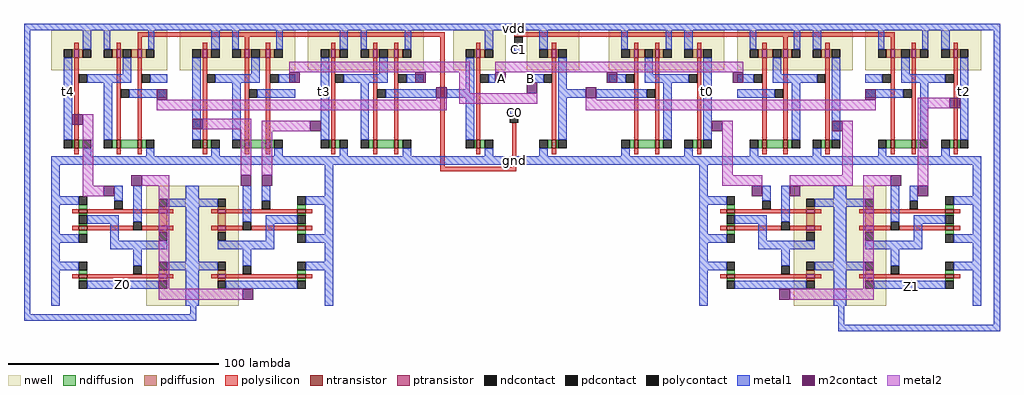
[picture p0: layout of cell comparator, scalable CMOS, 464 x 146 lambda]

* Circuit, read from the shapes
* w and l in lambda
.subckt comparator A B C0 C1 Z0 Z1 gnd vdd
M1 gnd n1 NOR_2/A VSUBS nfet w=4 l=2
M2 gnd NOR_2/out Z0 VSUBS nfet w=4 l=2
M3 NOR_2/out NOR_2/B gnd VSUBS nfet w=4 l=2
M4 gnd NOR_2/A NOR_2/out VSUBS nfet w=4 l=2
M5 n2 AND_3/B n1 VSUBS nfet w=4 l=2
M6 gnd C0 n2 VSUBS nfet w=4 l=2
M7 gnd n3 NOR_3/B VSUBS nfet w=4 l=2
M8 n4 C0 n3 VSUBS nfet w=4 l=2
M9 gnd B n4 VSUBS nfet w=4 l=2
M10 gnd NOR_3/out NOR_2/B VSUBS nfet w=4 l=2
M11 NOR_3/out NOR_3/B gnd VSUBS nfet w=4 l=2
M12 gnd NOR_3/A NOR_3/out VSUBS nfet w=4 l=2
M13 gnd n5 NOR_3/A VSUBS nfet w=4 l=2
M14 n6 AND_3/B n5 VSUBS nfet w=4 l=2
M15 gnd B n6 VSUBS nfet w=4 l=2
M16 gnd A AND_3/B VSUBS nfet w=4 l=2
M17 AND_0/B B gnd VSUBS nfet w=4 l=2
M18 n7 A gnd VSUBS nfet w=4 l=2
M19 n8 AND_0/B n7 VSUBS nfet w=4 l=2
M20 NOR_0/A n8 gnd VSUBS nfet w=4 l=2
M21 gnd NOR_0/out NOR_1/B VSUBS nfet w=4 l=2
M22 NOR_0/out NOR_0/B gnd VSUBS nfet w=4 l=2
M23 gnd NOR_0/A NOR_0/out VSUBS nfet w=4 l=2
M24 n9 A gnd VSUBS nfet w=4 l=2
M25 n10 C1 n9 VSUBS nfet w=4 l=2
M26 NOR_0/B n10 gnd VSUBS nfet w=4 l=2
M27 n11 C1 gnd VSUBS nfet w=4 l=2
M28 n12 AND_0/B n11 VSUBS nfet w=4 l=2
M29 gnd NOR_1/out Z1 VSUBS nfet w=4 l=2
M30 NOR_1/out NOR_1/B gnd VSUBS nfet w=4 l=2
M31 gnd NOR_1/A NOR_1/out VSUBS nfet w=4 l=2
M32 NOR_1/A n12 gnd VSUBS nfet w=4 l=2
M33 vdd n1 NOR_2/A n13 pfet w=4 l=2
M34 n1 AND_3/B vdd n13 pfet w=4 l=2
M35 vdd C0 n1 n13 pfet w=4 l=2
M36 vdd NOR_2/out Z0 n14 pfet w=4 l=2
M37 n15 NOR_2/B NOR_2/out n14 pfet w=4 l=2
M38 vdd NOR_2/A n15 n14 pfet w=4 l=2
M39 vdd n3 NOR_3/B n16 pfet w=4 l=2
M40 vdd NOR_3/out NOR_2/B n17 pfet w=4 l=2
M41 n18 NOR_3/B NOR_3/out n17 pfet w=4 l=2
M42 vdd NOR_3/A n18 n17 pfet w=4 l=2
M43 n3 C0 vdd n16 pfet w=4 l=2
M44 vdd B n3 n16 pfet w=4 l=2
M45 vdd n5 NOR_3/A n19 pfet w=4 l=2
M46 n5 AND_3/B vdd n19 pfet w=4 l=2
M47 vdd B n5 n19 pfet w=4 l=2
M48 vdd A AND_3/B n20 pfet w=4 l=2
M49 AND_0/B B vdd n21 pfet w=4 l=2
M50 n8 A vdd n22 pfet w=4 l=2
M51 vdd AND_0/B n8 n22 pfet w=4 l=2
M52 NOR_0/A n8 vdd n22 pfet w=4 l=2
M53 n10 A vdd n23 pfet w=4 l=2
M54 vdd C1 n10 n23 pfet w=4 l=2
M55 vdd NOR_0/out NOR_1/B n24 pfet w=4 l=2
M56 n25 NOR_0/B NOR_0/out n24 pfet w=4 l=2
M57 vdd NOR_0/A n25 n24 pfet w=4 l=2
M58 NOR_0/B n10 vdd n23 pfet w=4 l=2
M59 vdd NOR_1/out Z1 n26 pfet w=4 l=2
M60 n27 NOR_1/B NOR_1/out n26 pfet w=4 l=2
M61 vdd NOR_1/A n27 n26 pfet w=4 l=2
M62 n12 C1 vdd n28 pfet w=4 l=2
M63 vdd AND_0/B n12 n28 pfet w=4 l=2
M64 NOR_1/A n12 vdd n28 pfet w=4 l=2
.ends

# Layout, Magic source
magic
tech scmos
<< nwell >>
rect -74 45 -49 64
rect -39 45 -14 64
rect -220 -67 -201 -42
rect -195 -67 -176 -42
rect 88 -67 107 -42
rect 113 -67 132 -42
<< ntransistor >>
rect -63 8 -61 12
rect -27 8 -25 12
rect -252 -54 -248 -52
rect -148 -54 -144 -52
rect 56 -54 60 -52
rect 160 -54 164 -52
<< ptransistor >>
rect -63 51 -61 55
rect -27 51 -25 55
rect -214 -54 -210 -52
rect -186 -54 -182 -52
rect 94 -54 98 -52
rect 122 -54 126 -52
<< ndiffusion >>
rect -64 8 -63 12
rect -61 8 -59 12
rect -29 8 -27 12
rect -25 8 -24 12
rect -252 -52 -248 -50
rect -148 -52 -144 -50
rect 56 -52 60 -50
rect 160 -52 164 -50
rect -252 -55 -248 -54
rect -148 -55 -144 -54
rect 56 -55 60 -54
rect 160 -55 164 -54
<< pdiffusion >>
rect -64 51 -63 55
rect -61 51 -59 55
rect -29 51 -27 55
rect -25 51 -24 55
rect -214 -52 -210 -50
rect -186 -52 -182 -50
rect 94 -52 98 -50
rect 122 -52 126 -50
rect -214 -55 -210 -54
rect -186 -55 -182 -54
rect 94 -55 98 -54
rect 122 -55 126 -54
<< ndcontact >>
rect -68 8 -64 12
rect -59 8 -55 12
rect -33 8 -29 12
rect -24 8 -20 12
rect -252 -50 -248 -46
rect -148 -50 -144 -46
rect 56 -50 60 -46
rect 160 -50 164 -46
rect -252 -59 -248 -55
rect -148 -59 -144 -55
rect 56 -59 60 -55
rect 160 -59 164 -55
<< pdcontact >>
rect -68 51 -64 55
rect -59 51 -55 55
rect -33 51 -29 55
rect -24 51 -20 55
rect -214 -50 -210 -46
rect -186 -50 -182 -46
rect 94 -50 98 -46
rect 122 -50 126 -46
rect -214 -59 -210 -55
rect -186 -59 -182 -55
rect 94 -59 98 -55
rect 122 -59 126 -55
<< polysilicon >>
rect -224 61 -78 63
rect -224 57 -222 61
rect -173 58 -171 61
rect -80 -1 -78 61
rect -45 61 136 63
rect -63 55 -61 58
rect 83 58 85 61
rect -27 55 -25 58
rect 134 57 136 61
rect -63 12 -61 51
rect -63 5 -61 8
rect -46 -1 -44 20
rect -27 12 -25 51
rect -27 5 -25 8
rect -80 -3 -44 -1
rect -255 -54 -252 -52
rect -248 -54 -214 -52
rect -210 -54 -207 -52
rect -189 -54 -186 -52
rect -182 -54 -148 -52
rect -144 -54 -141 -52
rect 53 -54 56 -52
rect 60 -54 94 -52
rect 98 -54 101 -52
rect 119 -54 122 -52
rect 126 -54 160 -52
rect 164 -54 167 -52
<< polycontact >>
rect -45 57 -41 61
rect -61 39 -57 43
rect -31 39 -27 43
rect -47 20 -43 24
rect -226 -52 -222 -48
rect -174 -52 -170 -48
rect 82 -52 86 -48
rect 134 -52 138 -48
<< metal1 >>
rect -278 64 -262 67
rect -210 64 -204 67
rect -149 64 -143 67
rect -88 64 1 67
rect 55 64 61 67
rect 116 64 122 67
rect 174 64 186 67
rect -278 -71 -275 64
rect -59 55 -55 64
rect -45 54 -41 57
rect -33 55 -29 64
rect -93 32 -82 36
rect -68 36 -64 51
rect -57 39 -54 43
rect -39 39 -31 43
rect -77 32 -64 36
rect -24 36 -20 51
rect -68 12 -64 32
rect -24 32 -11 36
rect -6 32 5 36
rect -47 24 -43 27
rect -24 12 -20 32
rect -59 4 -55 8
rect -33 4 -29 8
rect -265 -14 -261 4
rect -210 0 -204 4
rect -149 0 -143 4
rect -135 -14 -131 4
rect -88 0 1 4
rect 43 -14 47 4
rect 55 0 61 4
rect 68 0 72 4
rect 116 0 122 4
rect 173 -15 177 4
rect -265 -46 -261 -38
rect -265 -50 -252 -46
rect -226 -48 -222 -38
rect -201 -46 -195 -42
rect -265 -67 -261 -50
rect -210 -50 -186 -46
rect -174 -48 -170 -38
rect -135 -46 -131 -38
rect -248 -59 -214 -55
rect -201 -67 -195 -50
rect -144 -50 -131 -46
rect -182 -59 -148 -55
rect -135 -67 -131 -50
rect 43 -46 47 -38
rect 43 -50 56 -46
rect 82 -48 86 -38
rect 107 -46 113 -42
rect 43 -67 47 -50
rect 98 -50 122 -46
rect 134 -48 138 -38
rect 173 -46 177 -38
rect 60 -59 94 -55
rect 107 -67 113 -50
rect 164 -50 177 -46
rect 126 -59 160 -55
rect 173 -67 177 -50
rect -199 -71 -196 -67
rect -278 -74 -196 -71
rect 109 -76 112 -67
rect 183 -76 186 64
rect 109 -79 186 -76
<< m2contact >>
rect -152 39 -147 44
rect -92 39 -87 44
rect -215 31 -210 36
rect -82 32 -77 37
rect -54 39 -49 44
rect -39 34 -34 39
rect -1 39 4 44
rect 59 39 64 44
rect -255 19 -250 24
rect -198 17 -193 22
rect -142 16 -137 21
rect -11 32 -6 37
rect 122 31 127 36
rect 162 27 167 32
rect 49 16 54 21
rect 106 16 111 21
rect -227 -10 -222 -5
rect -175 -10 -170 -5
rect -165 -10 -160 -5
rect -240 -15 -235 -10
rect 134 -10 139 -5
rect 68 -15 73 -10
rect 86 -15 91 -10
rect 147 -15 152 -10
rect -174 -64 -169 -59
rect 81 -64 86 -59
<< metal2 >>
rect -152 44 -66 49
rect -82 31 -77 32
rect -215 26 -77 31
rect -71 34 -66 44
rect -54 44 64 49
rect -71 29 -34 34
rect -11 31 -6 32
rect -11 26 127 31
rect 147 27 162 32
rect -250 -10 -245 24
rect -193 17 -170 22
rect -175 -5 -170 17
rect -222 -10 -209 -5
rect -165 16 -142 21
rect -165 -5 -160 16
rect 54 -5 59 21
rect 111 -5 116 21
rect 54 -10 73 -5
rect -250 -15 -240 -10
rect -214 -59 -209 -10
rect 86 -10 116 -5
rect 121 -10 134 -5
rect 147 -10 152 27
rect 121 -59 126 -10
rect -214 -64 -174 -59
rect 86 -64 126 -59
use NOR  NOR_3
transform 0 -1 -175 -1 0 -37
box -27 -44 5 23
use AND  AND_4
transform -1 0 -85 0 1 0
box 64 0 119 67
use AND  AND_3
transform -1 0 -146 0 1 0
box 64 0 119 67
use NOR  NOR_2
transform 0 1 -221 -1 0 -37
box -27 -44 5 23
use AND  AND_5
transform -1 0 -24 0 1 0
box 64 0 119 67
use AND  AND_0
transform 1 0 -64 0 1 0
box 64 0 119 67
use NOR  NOR_0
transform 0 1 87 -1 0 -37
box -27 -44 5 23
use AND  AND_1
transform 1 0 -3 0 1 0
box 64 0 119 67
use AND  AND_2
transform 1 0 58 0 1 0
box 64 0 119 67
use NOR  NOR_1
transform 0 -1 133 -1 0 -37
box -27 -44 5 23
<< labels >>
rlabel metal1 -45 65 -45 65 5 vdd
rlabel m2contact -51 41 -51 41 1 A
rlabel metal1 -37 41 -37 41 1 B
rlabel metal1 -43 55 -43 55 1 C1
rlabel metal1 -45 25 -45 25 1 C0
rlabel space 47 35 47 35 1 t0
rlabel space 169 35 169 35 1 t2
rlabel space -135 35 -135 35 1 t3
rlabel space -257 35 -257 35 1 t4
rlabel metal1 144 -58 144 -58 1 Z1
rlabel metal1 -231 -57 -231 -57 1 Z0
rlabel metal1 -45 2 -45 2 1 gnd
<< end >>

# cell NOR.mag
magic
tech scmos
<< nwell >>
rect -27 1 5 20
<< ntransistor >>
rect -16 -31 -14 -27
rect -8 -31 -6 -27
<< ptransistor >>
rect -16 7 -14 11
rect -8 7 -6 11
<< ndiffusion >>
rect -18 -31 -16 -27
rect -14 -31 -13 -27
rect -9 -31 -8 -27
rect -6 -31 -4 -27
<< pdiffusion >>
rect -17 7 -16 11
rect -14 7 -8 11
rect -6 7 -5 11
<< ndcontact >>
rect -22 -31 -18 -27
rect -13 -31 -9 -27
rect -4 -31 0 -27
<< pdcontact >>
rect -21 7 -17 11
rect -5 7 -1 11
<< polysilicon >>
rect -16 11 -14 14
rect -8 11 -6 14
rect -16 -27 -14 7
rect -8 -1 -6 7
rect -8 -27 -6 -5
rect -16 -34 -14 -31
rect -8 -34 -6 -31
<< polycontact >>
rect -20 -14 -16 -10
rect -10 -5 -6 -1
<< metal1 >>
rect -27 20 5 23
rect -21 11 -17 20
rect -1 -1 3 11
rect -27 -5 -10 -1
rect -1 -4 5 -1
rect -27 -14 -20 -10
rect -1 -12 3 -4
rect -13 -16 3 -12
rect -13 -27 -9 -16
rect -22 -40 -18 -31
rect -4 -40 0 -31
rect -27 -44 5 -40
<< labels >>
rlabel metal1 -19 21 -17 22 5 vdd
rlabel metal1 -25 -4 -23 -3 3 B
rlabel metal1 1 -3 3 -2 7 out
rlabel metal1 -12 -43 -10 -42 1 gnd
rlabel metal1 -26 -13 -24 -12 3 A
<< end >>

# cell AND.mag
magic
tech scmos
<< nwell >>
rect 64 45 119 64
<< ntransistor >>
rect 76 8 78 12
rect 86 8 88 12
rect 106 8 108 12
<< ptransistor >>
rect 76 51 78 55
rect 86 51 88 55
rect 106 51 108 55
<< ndiffusion >>
rect 74 8 76 12
rect 78 8 86 12
rect 88 8 90 12
rect 104 8 106 12
rect 108 8 109 12
<< pdiffusion >>
rect 74 51 76 55
rect 78 51 81 55
rect 85 51 86 55
rect 88 51 90 55
rect 104 51 106 55
rect 108 51 109 55
<< ndcontact >>
rect 70 8 74 12
rect 90 8 94 12
rect 100 8 104 12
rect 109 8 113 12
<< pdcontact >>
rect 70 51 74 55
rect 81 51 85 55
rect 90 51 94 55
rect 100 51 104 55
rect 109 51 113 55
<< polysilicon >>
rect 76 55 78 58
rect 86 55 88 58
rect 106 55 108 58
rect 76 12 78 51
rect 86 12 88 51
rect 106 12 108 51
rect 76 5 78 8
rect 86 5 88 8
rect 106 5 108 8
<< polycontact >>
rect 72 39 76 43
rect 82 32 86 36
rect 102 39 106 43
<< metal1 >>
rect 64 64 119 67
rect 70 55 73 64
rect 91 55 94 64
rect 100 55 104 64
rect 81 43 85 51
rect 64 39 72 43
rect 81 39 102 43
rect 64 32 82 36
rect 90 12 94 39
rect 109 12 113 51
rect 70 4 74 8
rect 100 4 104 8
rect 64 0 119 4
<< labels >>
rlabel metal1 65 41 65 41 3 A
rlabel metal1 65 34 65 34 3 B
rlabel metal1 89 1 89 1 1 gnd
rlabel metal1 92 65 92 65 5 vdd
rlabel metal1 111 35 111 35 1 out
<< end >>
